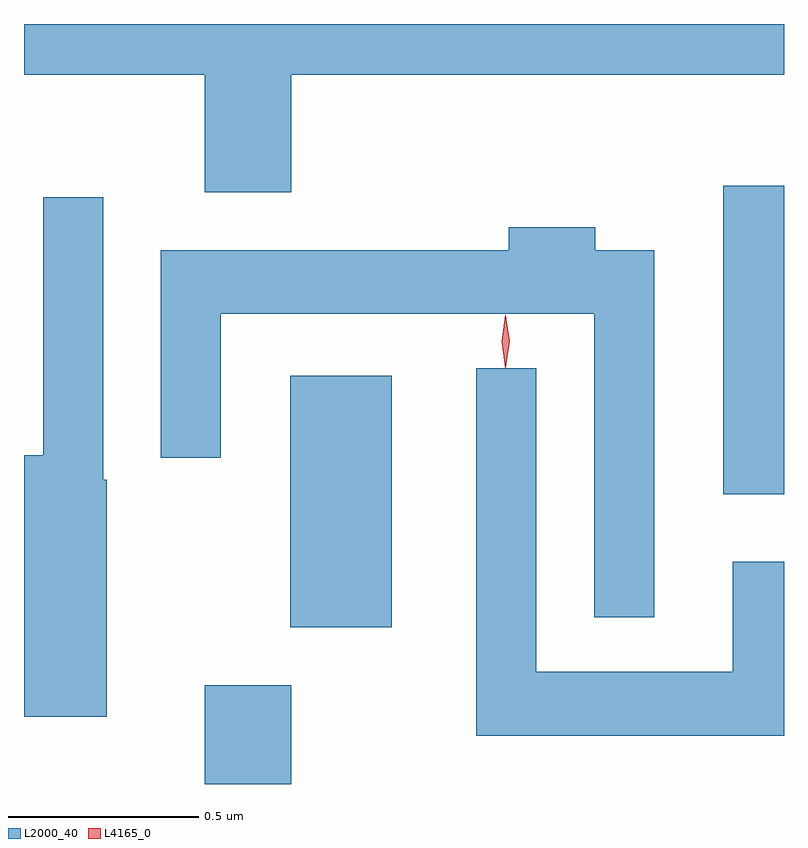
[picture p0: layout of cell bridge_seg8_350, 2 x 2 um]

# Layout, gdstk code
import gdstk
lib = gdstk.Library(unit=1e-6, precision=1e-09)
def R(c, l, rs):  # rectangles x0, y0, x1, y1
    for r in rs: c.add(gdstk.rectangle(r[:2], r[2:], *l))
def P(c, l, *ps):  # polygons
    for p in ps: c.add(gdstk.Polygon(p, *l))
L2000_40 = (2000, 40)
L4165_0 = (4165, 0)

bridge_seg8_350 = lib.new_cell('bridge_seg8_350')
R(bridge_seg8_350, L2000_40, [(936.171,1905.589,936.399,1905.849), (936.396,1906.001,936.664,1906.664), (937.536,1906.351,937.696,1907.164)])
P(bridge_seg8_350, L2000_40, [(935.696,1907.456),(936.171,1907.456),(936.171,1907.146),(936.399,1907.146),(936.399,1907.456),(937.696,1907.456),(937.696,1907.589),(935.696,1907.589)],
  [(935.914,1906.39),(935.904,1906.39),(935.904,1907.133),(935.746,1907.133),(935.746,1906.454),(935.696,1906.454),(935.696,1905.766),(935.914,1905.766)],
  [(937.354,1906.994),(937.199,1906.994),(937.199,1907.054),(936.971,1907.054),(936.971,1906.994),(936.056,1906.994),(936.056,1906.448),(936.214,1906.448),(936.214,1906.826),(937.196,1906.826),(937.196,1906.028),(937.354,1906.028)],
  [(937.696,1906.174),(937.561,1906.174),(937.561,1905.884),(937.044,1905.884),(937.044,1906.683),(936.886,1906.683),(936.886,1905.716),(937.696,1905.716)])
P(bridge_seg8_350, L4165_0, [(936.963,1906.683),(936.962,1906.684),(936.953,1906.753),(936.962,1906.822),(936.963,1906.823),(936.964,1906.822),(936.973,1906.753),(936.964,1906.684)],
  [(936.963,1906.687),(936.953,1906.754),(936.963,1906.82),(936.964,1906.82),(936.964,1906.82),(936.974,1906.754),(936.964,1906.687),(936.964,1906.687)])

lib.write_gds('bridge_seg8_350.gds')
